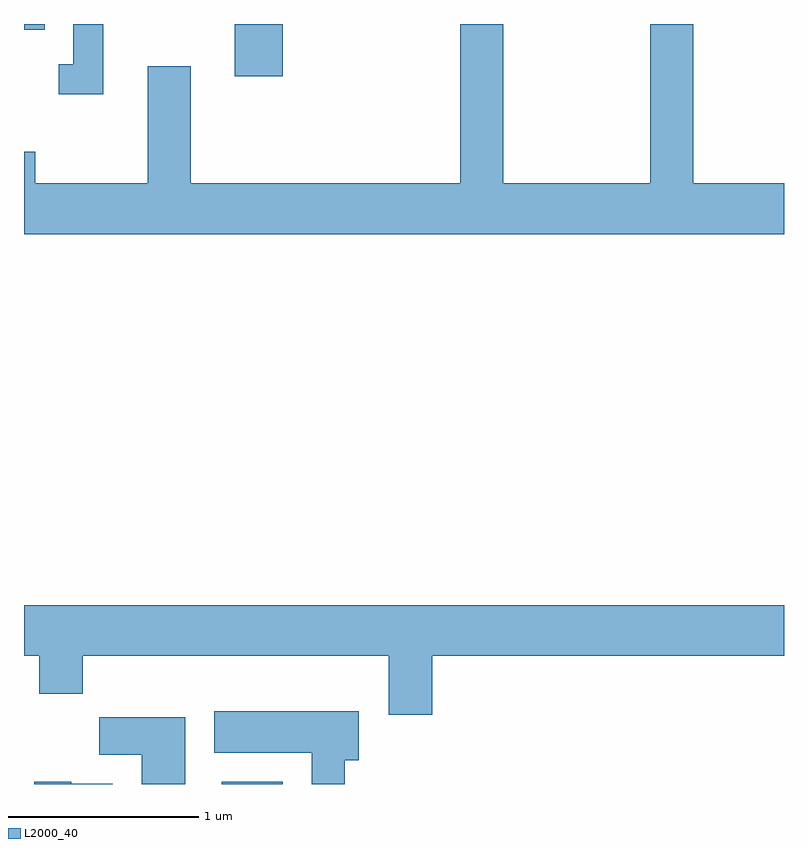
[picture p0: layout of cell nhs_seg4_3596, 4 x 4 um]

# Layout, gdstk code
import gdstk
lib = gdstk.Library(unit=1e-6, precision=1e-09)
def R(c, l, rs):  # rectangles x0, y0, x1, y1
    for r in rs: c.add(gdstk.rectangle(r[:2], r[2:], *l))
def P(c, l, *ps):  # polygons
    for p in ps: c.add(gdstk.Polygon(p, *l))
L2000_40 = (2000, 40)

nhs_seg4_3596 = lib.new_cell('nhs_seg4_3596')
R(nhs_seg4_3596, L2000_40, [(290.651,1373.982,290.974,1373.994), (290.721,1377.706,290.974,1377.982), (289.611,1377.951,289.719,1377.982)])
P(nhs_seg4_3596, L2000_40, [(293.611,1377.144),(293.134,1377.144),(293.134,1377.982),(292.906,1377.982),(292.906,1377.144),(292.134,1377.144),(292.134,1377.982),(291.906,1377.982),(291.906,1377.144),(290.489,1377.144),(290.489,1377.759),(290.261,1377.759),(290.261,1377.144),(289.669,1377.144),(289.669,1377.309),(289.611,1377.309),(289.611,1376.876),(293.611,1376.876)],
  [(290.029,1377.982),(289.871,1377.982),(289.871,1377.769),(289.793,1377.769),(289.793,1377.611),(290.029,1377.611)],
  [(291.759,1374.656),(293.611,1374.656),(293.611,1374.924),(289.611,1374.924),(289.611,1374.656),(289.691,1374.656),(289.691,1374.456),(289.919,1374.456),(289.919,1374.656),(291.531,1374.656),(291.531,1374.346),(291.759,1374.346)],
  [(291.299,1374.106),(291.374,1374.106),(291.374,1374.364),(290.611,1374.364),(290.611,1374.146),(291.126,1374.146),(291.126,1373.982),(291.299,1373.982)],
  [(290.459,1374.334),(290.006,1374.334),(290.006,1374.136),(290.231,1374.136),(290.231,1373.982),(290.459,1373.982)],
  [(290.079,1373.984),(289.86,1373.984),(289.86,1373.994),(289.666,1373.994),(289.666,1373.982),(290.079,1373.982)])

lib.write_gds('nhs_seg4_3596.gds')
